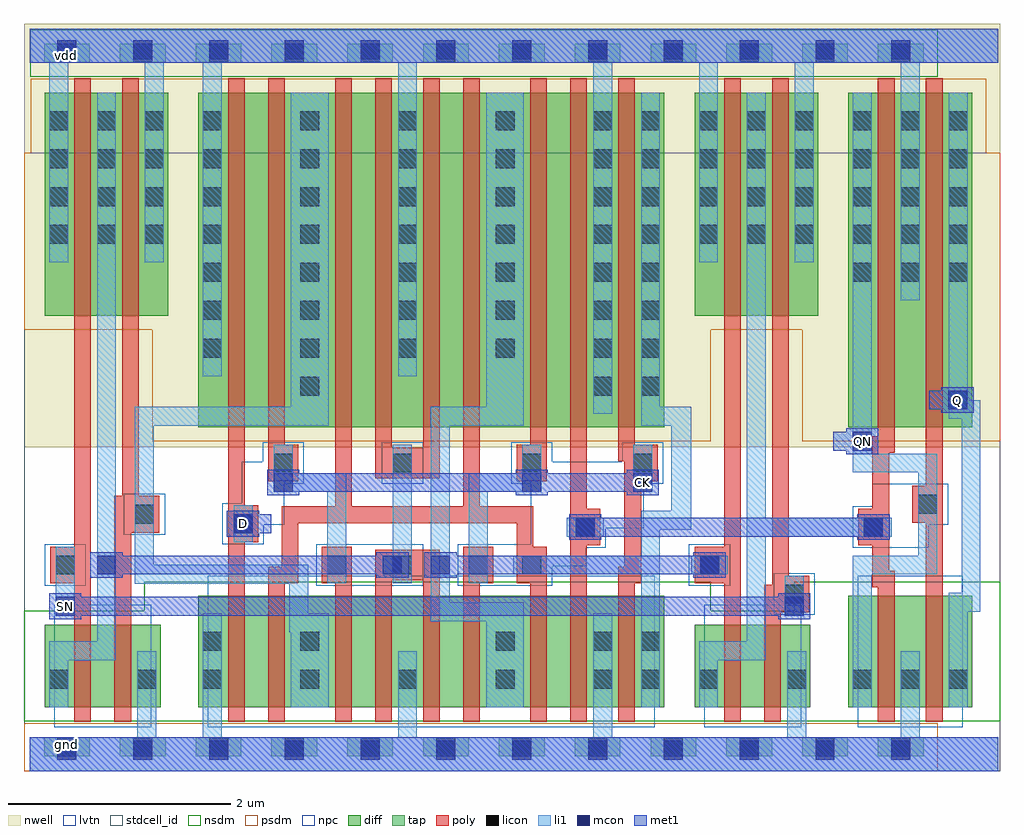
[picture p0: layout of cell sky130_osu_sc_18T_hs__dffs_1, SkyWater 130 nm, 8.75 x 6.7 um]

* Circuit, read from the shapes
.subckt sky130_osu_sc_18T_hs__dffs_1 CK D Q QN SN gnd vdd
XM1 n1 SN n2 gnd sky130_fd_pr__nfet_01v8_lvt w=0.74 l=0.15
XM2 gnd n3 n1 gnd sky130_fd_pr__nfet_01v8_lvt w=0.74 l=0.15
XM3 n4 D gnd gnd sky130_fd_pr__nfet_01v8_lvt w=1 l=0.15
XM4 n3 n5 n4 gnd sky130_fd_pr__nfet_01v8_lvt w=1 l=0.15
XM5 n6 CK n3 gnd sky130_fd_pr__nfet_01v8_lvt w=1 l=0.15
XM6 gnd n2 n6 gnd sky130_fd_pr__nfet_01v8_lvt w=1 l=0.15
XM7 n7 n2 gnd gnd sky130_fd_pr__nfet_01v8_lvt w=1 l=0.15
XM8 n8 CK n7 gnd sky130_fd_pr__nfet_01v8_lvt w=1 l=0.15
XM9 n9 n5 n8 gnd sky130_fd_pr__nfet_01v8_lvt w=1 l=0.15
XM10 gnd n10 n9 gnd sky130_fd_pr__nfet_01v8_lvt w=1 l=0.15
XM11 n5 CK gnd gnd sky130_fd_pr__nfet_01v8_lvt w=1 l=0.15
XM12 n11 n8 n10 gnd sky130_fd_pr__nfet_01v8_lvt w=0.74 l=0.15
XM13 gnd SN n11 gnd sky130_fd_pr__nfet_01v8_lvt w=0.74 l=0.15
XM14 gnd n10 QN gnd sky130_fd_pr__nfet_01v8_lvt w=1 l=0.15
XM15 Q QN gnd gnd sky130_fd_pr__nfet_01v8_lvt w=1 l=0.15
XM16 n2 SN vdd vdd sky130_fd_pr__pfet_01v8 w=2 l=0.15
XM17 vdd n3 n2 vdd sky130_fd_pr__pfet_01v8 w=2 l=0.15
XM18 n12 D vdd vdd sky130_fd_pr__pfet_01v8 w=3 l=0.15
XM19 n3 CK n12 vdd sky130_fd_pr__pfet_01v8 w=3 l=0.15
XM20 n13 n5 n3 vdd sky130_fd_pr__pfet_01v8 w=3 l=0.15
XM21 vdd n2 n13 vdd sky130_fd_pr__pfet_01v8 w=3 l=0.15
XM22 n14 n2 vdd vdd sky130_fd_pr__pfet_01v8 w=3 l=0.15
XM23 n8 n5 n14 vdd sky130_fd_pr__pfet_01v8 w=3 l=0.15
XM24 n15 CK n8 vdd sky130_fd_pr__pfet_01v8 w=3 l=0.15
XM25 vdd n10 n15 vdd sky130_fd_pr__pfet_01v8 w=3 l=0.15
XM26 n5 CK vdd vdd sky130_fd_pr__pfet_01v8 w=3 l=0.15
XM27 n10 n8 vdd vdd sky130_fd_pr__pfet_01v8 w=2 l=0.15
XM28 vdd SN n10 vdd sky130_fd_pr__pfet_01v8 w=2 l=0.15
XM29 vdd n10 QN vdd sky130_fd_pr__pfet_01v8 w=3 l=0.15
XM30 Q QN vdd vdd sky130_fd_pr__pfet_01v8 w=3 l=0.15
.ends

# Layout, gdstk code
import gdstk
lib = gdstk.Library(unit=1e-6, precision=1e-09)
def R(c, l, rs):  # rectangles x0, y0, x1, y1
    for r in rs: c.add(gdstk.rectangle(r[:2], r[2:], *l))
def A(c, l, x, y, w, h, nx, ny, dx, dy):  # array of equal rectangles
    R(c, l, [(x+i*dx, y+j*dy, x+i*dx+w, y+j*dy+h) for i in range(nx) for j in range(ny)])
nwell = (64, 20)
diff = (65, 20)
tap = (65, 44)
poly = (66, 20)
licon = (66, 44)
li1 = (67, 20)
mcon = (67, 44)
met1 = (68, 20)
stdcell_id = (81, 4)
nsdm = (93, 44)
psdm = (94, 20)
npc = (95, 20)
lvtn = (125, 44)

sky130_osu_sc_18t_hs__df = lib.new_cell('sky130_osu_sc_18T_hs__dffs_1')
R(sky130_osu_sc_18t_hs__df, nwell, [(-0.05,2.905,8.705,6.705)])
R(sky130_osu_sc_18t_hs__df, diff, [(0.135,0.575,1.175,1.315), (1.515,0.575,5.695,1.575), (5.965,0.575,7.005,1.315), (7.345,0.575,8.455,1.575), (1.515,3.085,5.695,6.085), (7.345,3.085,8.455,6.085), (0.135,4.085,1.245,6.085), (5.965,4.085,7.075,6.085)])
A(sky130_osu_sc_18t_hs__df, tap, 0.13, 0.135, 0.41, 0.17, 12, 2, 0.68, 6.22)
R(sky130_osu_sc_18t_hs__df, poly, [(0.4,0.445,0.55,1.685), (0.76,0.445,0.91,2.14), (1.78,0.445,1.93,2.055), (2.14,0.445,2.29,1.685), (2.74,0.445,2.89,1.685), (3.1,0.445,3.25,1.715), (3.53,0.445,3.68,1.715), (3.89,0.445,4.04,1.685), (4.49,0.445,4.64,1.685), (4.85,0.445,5,2.025), (5.28,0.445,5.43,1.685), (6.23,0.445,6.38,1.685), (6.59,0.445,6.74,1.425), (7.61,0.445,7.76,1.65), (8.04,0.445,8.19,2.23), (6.59,1.425,6.995,1.675), (7.56,1.65,7.76,1.8), (6.66,1.675,6.995,1.755), (0.185,1.685,0.55,2.015), (2.14,1.685,2.41,1.835), (2.62,1.685,2.89,2.015), (3.89,1.685,4.16,2.015), (4.37,1.685,4.64,2.015), (5.28,1.685,5.485,1.835), (5.965,1.685,6.38,2.015), (3.1,1.715,3.68,1.985), (6.66,1.755,6.81,6.215), (7.56,1.8,7.71,2.025), (2.26,1.835,2.41,2.225), (5.335,1.835,5.485,2.6), (0.4,2.015,0.55,6.215), (4.37,2.015,4.52,2.225), (6.23,2.015,6.38,6.215), (4.85,2.025,5.12,2.355), (7.435,2.025,7.71,2.355), (1.78,2.055,2.05,2.385), (0.76,2.14,1.165,2.47), (2.26,2.225,4.52,2.375), (7.92,2.23,8.19,2.56), (4.85,2.355,5,6.215), (7.56,2.355,7.71,2.855), (2.74,2.375,2.89,6.215), (3.89,2.375,4.04,6.215), (1.78,2.385,1.93,6.215), (0.83,2.47,0.98,6.215), (8.04,2.56,8.19,6.215), (2.14,2.6,2.41,2.93), (4.37,2.6,4.64,2.93), (5.335,2.6,5.635,2.78), (3.1,2.63,3.68,2.9), (5.28,2.78,5.635,2.93), (7.56,2.855,7.76,3.005), (3.1,2.9,3.25,6.215), (3.53,2.9,3.68,6.215), (2.14,2.93,2.29,6.215), (4.49,2.93,4.64,6.215), (5.28,2.93,5.43,6.215), (7.61,3.005,7.76,6.215)])
A(sky130_osu_sc_18t_hs__df, licon, 0.25, 0.135, 0.17, 0.17, 12, 2, 0.68, 6.22)
A(sky130_osu_sc_18t_hs__df, licon, 1.555, 0.74, 0.17, 0.17, 5, 2, 0.875, 2.97)
A(sky130_osu_sc_18t_hs__df, licon, 7.385, 0.74, 0.17, 0.17, 3, 2, 0.43, 3.65)
A(sky130_osu_sc_18t_hs__df, licon, 5.485, 3.37, 0.17, 0.17, 1, 8, 0, 0.34)
A(sky130_osu_sc_18t_hs__df, licon, 1.555, 4.05, 0.17, 0.17, 5, 6, 0.875, 0.34)
A(sky130_osu_sc_18t_hs__df, licon, 0.175, 4.73, 0.17, 0.17, 3, 4, 0.43, 0.34)
A(sky130_osu_sc_18t_hs__df, licon, 6.005, 4.73, 0.17, 0.17, 3, 4, 0.43, 0.34)
A(sky130_osu_sc_18t_hs__df, licon, 7.385, 4.73, 0.17, 0.17, 3, 4, 0.43, 0.34)
R(sky130_osu_sc_18t_hs__df, licon, [(0.175,0.74,0.345,0.91), (0.965,0.74,1.135,0.91), (5.485,0.74,5.655,0.91), (6.005,0.74,6.175,0.91), (6.795,0.74,6.965,0.91), (1.555,1.08,1.725,1.25), (2.43,1.08,2.6,1.25), (4.18,1.08,4.35,1.25), (5.055,1.08,5.225,1.25), (5.485,1.08,5.655,1.25), (6.775,1.505,6.945,1.675), (0.235,1.765,0.405,1.935), (2.67,1.765,2.84,1.935), (3.26,1.765,3.43,1.935), (3.94,1.765,4.11,1.935), (4.42,1.765,4.59,1.935), (6.015,1.765,6.185,1.935), (4.9,2.105,5.07,2.275), (7.485,2.105,7.655,2.275), (1.83,2.135,2,2.305), (0.945,2.22,1.115,2.39), (7.97,2.31,8.14,2.48), (2.19,2.68,2.36,2.85), (3.26,2.68,3.43,2.85), (4.42,2.68,4.59,2.85), (5.415,2.68,5.585,2.85), (2.43,3.37,2.6,3.54), (5.055,3.37,5.225,3.54)])
R(sky130_osu_sc_18t_hs__df, li1, [(0,0,8.69,0.305), (0.965,0.305,1.135,1.075), (1.555,0.305,1.725,1.415), (3.305,0.305,3.475,1.075), (5.055,0.305,5.225,1.415), (6.795,0.305,6.965,1.075), (7.815,0.305,7.985,1.075), (0.175,0.575,0.345,0.995), (2.345,0.575,2.685,1.245), (4.095,0.575,4.435,1.345), (5.485,0.575,5.655,1.765), (6.005,0.575,6.175,0.995), (7.385,0.575,7.555,1.765), (8.245,0.575,8.415,1.43), (0.175,0.995,0.775,1.165), (6.005,0.995,6.605,1.165), (0.605,1.165,0.775,6.085), (6.435,1.165,6.605,2.105), (2.33,1.245,2.685,1.415), (3.6,1.345,4.435,1.515), (0.235,1.395,0.405,2.015), (6.775,1.395,6.945,1.755), (2.33,1.415,2.5,1.68), (8.245,1.43,8.53,1.6), (3.6,1.515,3.77,3.1), (8.36,1.6,8.53,3.16), (0.945,1.68,2.5,1.85), (2.67,1.685,2.84,2.505), (3.26,1.685,3.43,1.765), (3.94,1.685,4.11,2.505), (3.17,1.765,3.43,1.935), (4.34,1.765,5.655,1.935), (5.935,1.765,6.265,1.935), (7.385,1.765,8.14,1.935), (0.945,1.85,1.115,3.1), (3.26,1.935,3.43,2.93), (5.485,1.935,5.655,2.165), (7.97,1.935,8.14,2.68), (1.83,2.055,2,2.385), (4.82,2.105,5.15,2.275), (6.435,2.105,7.735,2.275), (5.485,2.165,5.935,2.335), (6.435,2.275,6.605,6.085), (5.755,2.335,5.935,3.1), (2.19,2.505,2.84,2.675), (3.94,2.505,4.59,2.675), (5.415,2.505,5.585,2.93), (2.19,2.675,2.36,2.93), (4.42,2.675,4.59,2.93), (7.385,2.68,8.14,2.85), (7.385,2.85,7.555,6.085), (0.945,3.1,2.685,3.27), (3.6,3.1,4.435,3.27), (5.485,3.1,5.935,3.27), (8.245,3.16,8.53,3.245), (5.055,3.205,5.225,6.355), (8.24,3.245,8.53,3.33), (2.345,3.27,2.685,6.085), (4.095,3.27,4.435,6.085), (5.485,3.27,5.655,6.085), (8.24,3.33,8.415,3.415), (8.245,3.415,8.415,6.085), (1.555,3.545,1.725,6.355), (3.305,3.545,3.475,6.355), (7.815,4.225,7.985,6.355), (0.175,4.565,0.345,6.355), (1.035,4.565,1.205,6.355), (6.005,4.565,6.175,6.355), (6.865,4.565,7.035,6.355), (0,6.355,8.69,6.66)])
A(sky130_osu_sc_18t_hs__df, mcon, 0.25, 0.105, 0.17, 0.17, 12, 2, 0.68, 6.28)
R(sky130_osu_sc_18t_hs__df, mcon, [(0.235,1.395,0.405,1.565), (6.775,1.395,6.945,1.565), (0.605,1.765,0.775,1.935), (3.17,1.765,3.34,1.935), (3.6,1.765,3.77,1.935), (6.015,1.765,6.185,1.935), (4.9,2.105,5.07,2.275), (7.485,2.105,7.655,2.275), (1.83,2.135,2,2.305), (2.19,2.505,2.36,2.675), (4.42,2.505,4.59,2.675), (5.415,2.505,5.585,2.675), (7.385,2.875,7.555,3.045), (8.24,3.245,8.41,3.415)])
R(sky130_osu_sc_18t_hs__df, met1, [(0,0,8.69,0.305), (0.175,1.365,0.465,1.395), (6.715,1.365,7.005,1.395), (0.175,1.395,7.005,1.565), (0.175,1.565,0.465,1.595), (6.715,1.565,7.005,1.595), (0.545,1.735,0.835,1.765), (3.11,1.735,3.4,1.765), (3.54,1.735,3.83,1.765), (5.955,1.735,6.245,1.765), (0.545,1.765,3.4,1.935), (3.54,1.765,6.245,1.935), (0.545,1.935,0.835,1.965), (3.11,1.935,3.4,1.965), (3.54,1.935,3.83,1.965), (5.955,1.935,6.245,1.965), (4.84,2.075,5.13,2.105), (7.425,2.075,7.715,2.105), (1.77,2.105,2.06,2.135), (4.84,2.105,7.715,2.275), (1.77,2.135,2.17,2.305), (4.84,2.275,5.13,2.305), (7.425,2.275,7.715,2.305), (1.77,2.305,2.06,2.335), (2.13,2.475,2.42,2.505), (4.36,2.475,4.65,2.505), (5.355,2.475,5.645,2.505), (2.13,2.505,5.645,2.675), (2.13,2.675,2.42,2.705), (4.36,2.675,4.65,2.705), (5.355,2.675,5.645,2.705), (7.325,2.845,7.615,2.875), (7.21,2.875,7.615,3.045), (7.325,3.045,7.615,3.075), (8.18,3.215,8.47,3.245), (8.07,3.245,8.47,3.415), (8.18,3.415,8.47,3.445), (0,6.355,8.69,6.66)])
R(sky130_osu_sc_18t_hs__df, stdcell_id, [(-0.05,0,8.705,5.55)])
R(sky130_osu_sc_18t_hs__df, nsdm, [(-0.05,0.45,8.705,1.44), (1.03,1.44,6.11,1.7), (6.86,1.44,8.705,1.7), (0.005,6.23,8.145,6.65)])
R(sky130_osu_sc_18t_hs__df, psdm, [(-0.05,0,8.145,0.43), (1.1,2.96,6.11,3.96), (6.93,2.96,8.705,3.96), (-0.05,3.96,8.705,5.55), (0.01,5.55,8.58,6.21)])
R(sky130_osu_sc_18t_hs__df, npc, [(6.675,1.405,7.045,1.775), (0.135,1.665,0.505,2.035), (2.57,1.665,3.53,2.035), (3.84,1.665,4.69,1.84), (5.915,1.665,6.285,2.035), (3.84,1.84,4.995,2.005), (3.84,2.005,5.17,2.035), (7.385,2.005,8.065,2.21), (1.73,2.035,2.1,2.21), (4.495,2.035,5.17,2.18), (0.845,2.12,1.215,2.49), (4.495,2.18,5.51,2.58), (1.73,2.21,2.285,2.405), (7.385,2.21,8.24,2.375), (7.56,2.375,8.24,2.58), (1.905,2.405,2.285,2.58), (1.905,2.58,2.46,2.775), (3.16,2.58,3.53,2.95), (4.32,2.58,5.685,2.775), (2.09,2.775,2.46,2.95), (4.32,2.775,4.69,2.95), (5.315,2.775,5.685,2.95)])
R(sky130_osu_sc_18t_hs__df, lvtn, [(0.22,0.395,1.09,1.495), (1.6,0.395,5.61,1.755), (6.05,0.395,6.92,1.495), (7.43,0.395,8.37,1.755)])
sky130_osu_sc_18t_hs__df.add(gdstk.Label('gnd', (0.335,0.24), layer=68, texttype=16))
sky130_osu_sc_18t_hs__df.add(gdstk.Label('vdd', (0.335,6.42), layer=68, texttype=16))
sky130_osu_sc_18t_hs__df.add(gdstk.Label('D', (1.915,2.22), layer=68, texttype=5))
sky130_osu_sc_18t_hs__df.add(gdstk.Label('CK', (5.5,2.59), layer=68, texttype=5))
sky130_osu_sc_18t_hs__df.add(gdstk.Label('Q', (8.325,3.33), layer=68, texttype=5))
sky130_osu_sc_18t_hs__df.add(gdstk.Label('QN', (7.475,2.96), layer=68, texttype=5))
sky130_osu_sc_18t_hs__df.add(gdstk.Label('SN', (0.32,1.48), layer=68, texttype=5))

lib.write_gds('sky130_osu_sc_18T_hs__dffs_1.gds')
